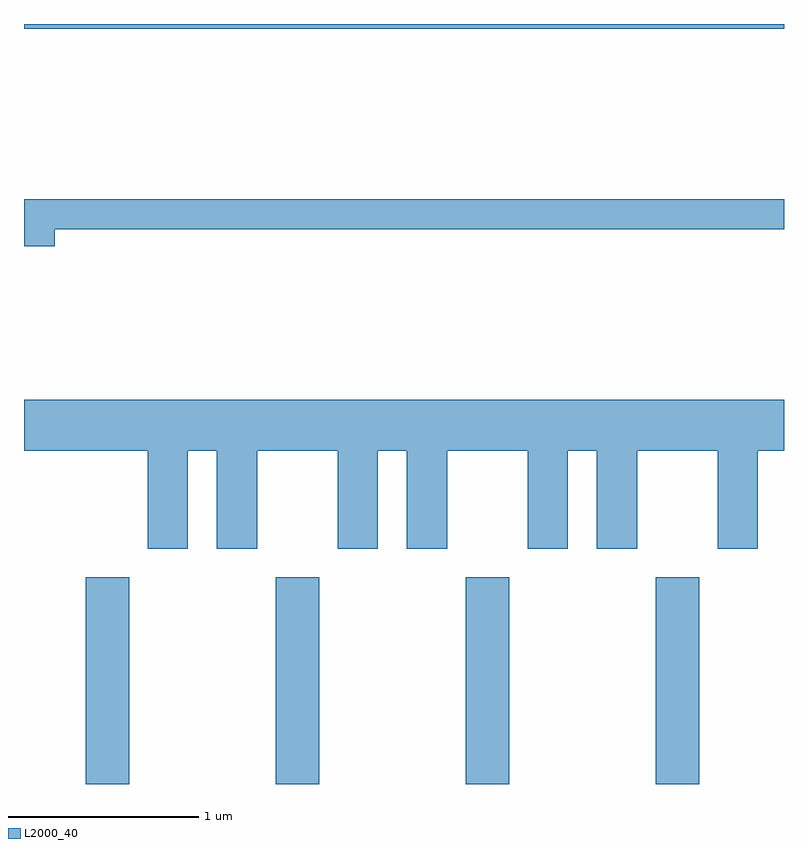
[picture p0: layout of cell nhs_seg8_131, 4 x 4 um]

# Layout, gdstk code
import gdstk
lib = gdstk.Library(unit=1e-6, precision=1e-09)
def R(c, l, rs):  # rectangles x0, y0, x1, y1
    for r in rs: c.add(gdstk.rectangle(r[:2], r[2:], *l))
def A(c, l, x, y, w, h, nx, ny, dx, dy):  # array of equal rectangles
    R(c, l, [(x+i*dx, y+j*dy, x+i*dx+w, y+j*dy+h) for i in range(nx) for j in range(ny)])
def P(c, l, *ps):  # polygons
    for p in ps: c.add(gdstk.Polygon(p, *l))
L2000_40 = (2000, 40)

nhs_seg8_131 = lib.new_cell('nhs_seg8_131')
A(nhs_seg8_131, L2000_40, 187.936, 1932.342, 0.228, 1.087, 4, 1, 1, 0)
R(nhs_seg8_131, L2000_40, [(187.611,1936.316,191.611,1936.342)])
P(nhs_seg8_131, L2000_40, [(187.774,1935.261),(191.611,1935.261),(191.611,1935.419),(187.611,1935.419),(187.611,1935.171),(187.774,1935.171)],
  [(188.474,1934.096),(188.626,1934.096),(188.626,1933.581),(188.839,1933.581),(188.839,1934.096),(189.261,1934.096),(189.261,1933.581),(189.474,1933.581),(189.474,1934.096),(189.626,1934.096),(189.626,1933.581),(189.839,1933.581),(189.839,1934.096),(190.261,1934.096),(190.261,1933.581),(190.474,1933.581),(190.474,1934.096),(190.626,1934.096),(190.626,1933.581),(190.839,1933.581),(190.839,1934.096),(191.261,1934.096),(191.261,1933.581),(191.474,1933.581),(191.474,1934.096),(191.611,1934.096),(191.611,1934.364),(187.611,1934.364),(187.611,1934.096),(188.261,1934.096),(188.261,1933.581),(188.474,1933.581)])

lib.write_gds('nhs_seg8_131.gds')
